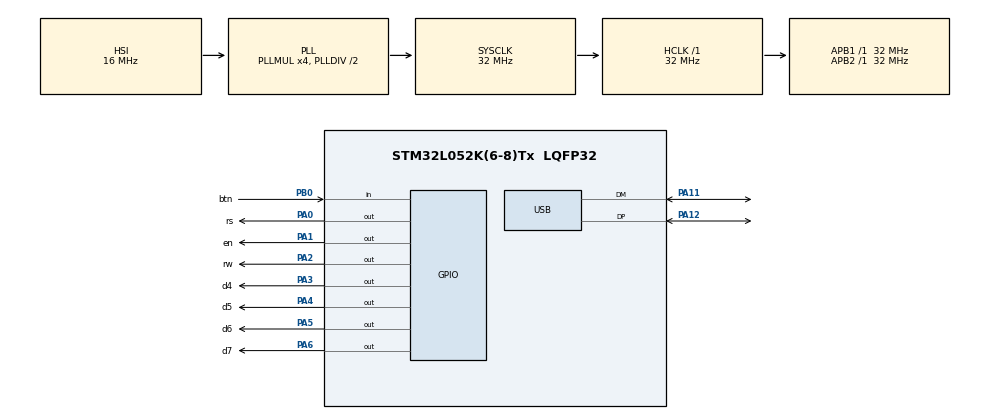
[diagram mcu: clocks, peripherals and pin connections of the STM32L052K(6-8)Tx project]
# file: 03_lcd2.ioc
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Mcu.Family=STM32L0
Mcu.Name=STM32L052K(6-8)Tx
Mcu.Package=LQFP32
NVIC.USB_IRQn=true\:0\:0\:false\:false\:true\:false\:true
PA0.GPIO_Label=rs
PA0.Signal=GPIO_Output
PA1.GPIO_Label=en
PA1.Signal=GPIO_Output
PA11.Mode=Device
PA11.Signal=USB_DM
PA12.Mode=Device
PA12.Signal=USB_DP
PA13.Mode=Serial_Wire
PA13.Signal=SYS_SWDIO
PA14.Mode=Serial_Wire
PA14.Signal=SYS_SWCLK
PA2.GPIO_Label=rw
PA2.Signal=GPIO_Output
PA3.GPIO_Label=d4
PA3.Signal=GPIO_Output
PA4.GPIO_Label=d5
PA4.Signal=GPIO_Output
PA5.GPIO_Label=d6
PA5.Signal=GPIO_Output
PA6.GPIO_Label=d7
PA6.Signal=GPIO_Output
PB0.GPIO_Label=btn
PB0.GPIO_PuPd=GPIO_PULLUP
PB0.Signal=GPIO_Input
ProjectManager.HeapSize=0x200
ProjectManager.StackSize=0x400
ProjectManager.TargetToolchain=TrueSTUDIO
RCC.AHBFreq_Value=32000000
RCC.APB1Freq_Value=32000000
RCC.APB1TimFreq_Value=32000000
RCC.APB2Freq_Value=32000000
RCC.APB2TimFreq_Value=32000000
RCC.HCLKFreq_Value=32000000
RCC.HSI16_VALUE=16000000
RCC.HSI48MClockSelection=RCC_USBCLKSOURCE_HSI48
RCC.HSI48_VALUE=48000000
RCC.HSI_VALUE=16000000
RCC.LSE_VALUE=32768
RCC.MSI_VALUE=2097000
RCC.PLLMUL=RCC_PLLMUL_4
RCC.SYSCLKFreq_VALUE=32000000
RCC.SYSCLKSource=RCC_SYSCLKSOURCE_PLLCLK
RCC.VCOOutputFreq_Value=64000000
USB_DEVICE.CLASS_NAME_FS=CDC
USB_DEVICE.LANGID_STRING=1042
USB_DEVICE.VirtualMode=Cdc
USB_DEVICE.VirtualModeFS=Cdc_FS
VP_USB_DEVICE_VS_USB_DEVICE_CDC_FS.Mode=CDC_FS
board=custom

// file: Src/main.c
/* USER CODE BEGIN Header */
/**
 ******************************************************************************
 * @file           : main.c
 * @brief          : Main program body
 ******************************************************************************
 * @attention
 *
 * <h2><center>&copy; Copyright (c) 2020 STMicroelectronics.
 * All rights reserved.</center></h2>
 *
 * This software component is licensed by ST under BSD 3-Clause license,
 * the "License"; You may not use this file except in compliance with the
 * License. You may obtain a copy of the License at:
 *                        opensource.org/licenses/BSD-3-Clause
 *
 ******************************************************************************
 */
/* USER CODE END Header */

#include "main.h"
#include "usb_device.h"

/* USER CODE BEGIN Includes */
#include <stdio.h> // for sprintf
#include <stdint.h> // for uint8_t, uint16_t,..
#include <stdbool.h> // for bool
#include "lcd.h"
/* USER CODE END Includes */

void SystemClock_Config(void);
static void MX_GPIO_Init(void);

/* USER CODE BEGIN 0 */

bool theFlag = 0;
#define CLEAR_LCD_ONCE if (!theFlag) { theFlag = 1; LCD_Clear();}

void chkBtn() {
	static int i = 0;
	static uint32_t btnCounter = 0, btnPressed = 0;
	static uint32_t now, lastTime;
	char buf[16];
	now = HAL_GetTick();
	if (!HAL_GPIO_ReadPin(btn_GPIO_Port, btn_Pin)) {
		if (now - lastTime > 20) {
			if (!btnPressed) {
				btnPressed = 1;
				CLEAR_LCD_ONCE
				sprintf(buf, "i: %d", i++);
				LCD_Puts(0, 0, buf);
			}
			lastTime = now;
		}
	} else {
		btnPressed = 0;
		lastTime = now;
	}
}
/* USER CODE END 0 */

int main(void) {
	/* USER CODE BEGIN 1 */
	char buf[16];

	/* USER CODE END 1 */

	/* MCU Configuration--------------------------------------------------------*/

	/* Reset of all peripherals, Initializes the Flash interface and the Systick. */
	HAL_Init();

	/* Configure the system clock */
	SystemClock_Config();

	/* Initialize all configured peripherals */
	MX_GPIO_Init();
	MX_USB_DEVICE_Init();
	/* USER CODE BEGIN 2 */
	LCD_Init();
	sprintf(buf, "Starting...");
	LCD_Puts(0, 0, buf);
	/* USER CODE END 2 */

	/* Infinite loop */
	/* USER CODE BEGIN WHILE */
	while (1) {
		chkBtn();
		/* USER CODE END WHILE */

	}
}

void SystemClock_Config(void) {
	RCC_OscInitTypeDef RCC_OscInitStruct = { 0 };
	RCC_ClkInitTypeDef RCC_ClkInitStruct = { 0 };
	RCC_PeriphCLKInitTypeDef PeriphClkInit = { 0 };

	/** Configure the main internal regulator output voltage
	 */
	__HAL_PWR_VOLTAGESCALING_CONFIG(PWR_REGULATOR_VOLTAGE_SCALE1);
	/** Initializes the CPU, AHB and APB busses clocks
	 */
	RCC_OscInitStruct.OscillatorType = RCC_OSCILLATORTYPE_HSI
			| RCC_OSCILLATORTYPE_HSI48;
	RCC_OscInitStruct.HSIState = RCC_HSI_ON;
	RCC_OscInitStruct.HSICalibrationValue = RCC_HSICALIBRATION_DEFAULT;
	RCC_OscInitStruct.HSI48State = RCC_HSI48_ON;
	RCC_OscInitStruct.PLL.PLLState = RCC_PLL_ON;
	RCC_OscInitStruct.PLL.PLLSource = RCC_PLLSOURCE_HSI;
	RCC_OscInitStruct.PLL.PLLMUL = RCC_PLLMUL_4;
	RCC_OscInitStruct.PLL.PLLDIV = RCC_PLLDIV_2;
	if (HAL_RCC_OscConfig(&RCC_OscInitStruct) != HAL_OK) {
		Error_Handler();
	}
	/** Initializes the CPU, AHB and APB busses clocks
	 */
	RCC_ClkInitStruct.ClockType = RCC_CLOCKTYPE_HCLK | RCC_CLOCKTYPE_SYSCLK
			| RCC_CLOCKTYPE_PCLK1 | RCC_CLOCKTYPE_PCLK2;
	RCC_ClkInitStruct.SYSCLKSource = RCC_SYSCLKSOURCE_PLLCLK;
	RCC_ClkInitStruct.AHBCLKDivider = RCC_SYSCLK_DIV1;
	RCC_ClkInitStruct.APB1CLKDivider = RCC_HCLK_DIV1;
	RCC_ClkInitStruct.APB2CLKDivider = RCC_HCLK_DIV1;

	if (HAL_RCC_ClockConfig(&RCC_ClkInitStruct, FLASH_LATENCY_1) != HAL_OK) {
		Error_Handler();
	}
	PeriphClkInit.PeriphClockSelection = RCC_PERIPHCLK_USB;
	PeriphClkInit.UsbClockSelection = RCC_USBCLKSOURCE_HSI48;
	if (HAL_RCCEx_PeriphCLKConfig(&PeriphClkInit) != HAL_OK) {
		Error_Handler();
	}
}

static void MX_GPIO_Init(void) {
	GPIO_InitTypeDef GPIO_InitStruct = { 0 };

	/* GPIO Ports Clock Enable */
	__HAL_RCC_GPIOA_CLK_ENABLE()
	;
	__HAL_RCC_GPIOB_CLK_ENABLE()
	;

	/*Configure GPIO pin Output Level */
	HAL_GPIO_WritePin(GPIOA,
			rs_Pin | en_Pin | rw_Pin | d4_Pin | d5_Pin | d6_Pin | d7_Pin,
			GPIO_PIN_RESET);

	/*Configure GPIO pins : rs_Pin en_Pin rw_Pin d4_Pin
	 d5_Pin d6_Pin d7_Pin */
	GPIO_InitStruct.Pin = rs_Pin | en_Pin | rw_Pin | d4_Pin | d5_Pin | d6_Pin
			| d7_Pin;
	GPIO_InitStruct.Mode = GPIO_MODE_OUTPUT_PP;
	GPIO_InitStruct.Pull = GPIO_NOPULL;
	GPIO_InitStruct.Speed = GPIO_SPEED_FREQ_LOW;
	HAL_GPIO_Init(GPIOA, &GPIO_InitStruct);

	/*Configure GPIO pin : btn_Pin */
	GPIO_InitStruct.Pin = btn_Pin;
	GPIO_InitStruct.Mode = GPIO_MODE_INPUT;
	GPIO_InitStruct.Pull = GPIO_PULLUP;
	HAL_GPIO_Init(btn_GPIO_Port, &GPIO_InitStruct);

}

void Error_Handler(void) {
}

/************************ (C) COPYRIGHT STMicroelectronics *****END OF FILE****/
